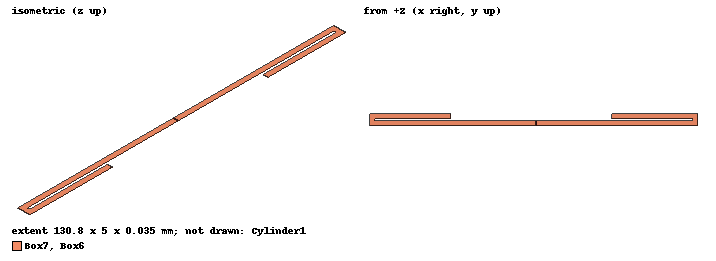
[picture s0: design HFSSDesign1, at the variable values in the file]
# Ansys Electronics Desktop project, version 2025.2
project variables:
  $length = 92mm
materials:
  vacuum: permittivity=1
  copper: permeability=0.999991 conductivity=58000000
  air: permittivity=1.0006 permeability=1.0000004
  graphite: conductivity=70000
  FR4_epoxy: permittivity=4.4 dielectric_loss_tangent=0.02

design HFSSDesign1 (HFSS, HFSS Terminal Network, model units mm)
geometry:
  Cylinder1 [air] = cylinder(axis=Z, base_centre=(0mm, 0mm, -100mm), radius=150mm, height=200mm)
  Box1 = box(corner=(0.1mm, 0mm, 0mm), size=(($length*0.7-0.1mm) meter, 2mm, 0.035mm))
  Rectangle2 = rectangle(corner=(-0.1mm, 0mm, 0mm), x_size=0.2mm, y_size=2mm)
  Box4 = box(corner=(($length)*0.7-2mm, 0mm, 0mm), size=(2mm, 5mm, 0.035mm))
  Box1.unite(Box4)
  Box6 [copper] = box(corner=($length*0.7-2mm, 5mm, 0mm), size=(-$length*0.35, -2mm, 0.035mm))
  Box6.unite(Box1)
  Box7 [copper] = box(corner=(-$length*0.7-2mm, 5mm, 0mm), size=($length*0.35, -2mm, 0.035mm))
  Box8 = box(corner=(-0.1mm, 0mm, 0mm), size=((-$length*0.7-0.1mm) meter, 2mm, 0.035mm))
  Box9 = box(corner=(-($length)*0.7-2mm, 0mm, 0mm), size=(2mm, 5mm, 0.035mm))
  Box8.unite(Box9)
  Box7.unite(Box8)
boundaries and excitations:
  Rad1: Radiation Objects=Cylinder1
  Box7_T1: Terminal port=1 Edges=Box7.edge(at (-0.1, 1, 0)) TerminalResistance=50ohm
  1: Lumped Port Faces=Rectangle2.face LumpedPortType=Terminal Impedance=50ohm
  reference conductors: Box6
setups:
  Setup1: HfssDriven Frequency=915MHz MaxDeltaS=0.02 MaximumPasses=6 MinimumPasses=1 MinimumConvergedPasses=1 PercentRefinement=30 BasisOrder=1 PortAccuracy=2 DrivenSolverType="Direct Solver"
    sweep Sweep: 800MHz to 1000MHz, 72 points; Type=Discrete SaveFields SaveRadFields
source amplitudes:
  1:1: 1V 0deg
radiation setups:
  Infinite Sphere1: Infinite Sphere Theta=0deg..180deg step 2deg Phi=-180deg..180deg step 2deg
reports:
  Gain Plot1: dB(GainTotal) vs Phi, Theta on Setup1 : LastAdaptive, Infinite Sphere1 [Freq=0.915GHz]
  Gain Plot2: dB(GainTotal) vs Phi on Setup1 : LastAdaptive, Infinite Sphere1 [Theta=90deg Freq=all]
  Terminal S Parameter Plot1: dB(St(Box7_T1,Box7_T1)) vs Freq on Setup1 : Sweep
  Terminal VSWR Plot2: VSWRt(Box7_T1) vs Freq on Setup1 : Sweep
